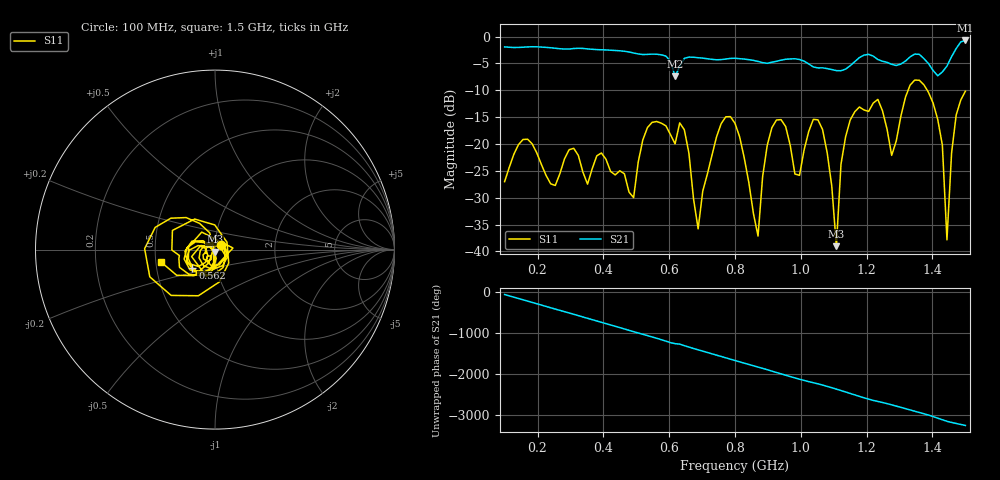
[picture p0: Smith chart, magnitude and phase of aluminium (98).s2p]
! NanoVNA-App
! Date: 2025-09-25 14:56:02
! Start: 100MHz Stop: 1,5GHz Points: 101
! S-Parameter data: F S11 S21 S12 S22
# Hz S RI R 50
!  Frequency  S11_Real  S11_Imag  S21_Real  S21_Imag  S12_Real  S12_Imag  S22_Real  S22_Imag
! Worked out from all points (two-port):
!   101 points, 100 MHz to 1.5 GHz, reference 50 ohm
!   highest |S21| = -0.72 dB at 1.5 GHz (marker M1); lowest = -7.4 dB at 618 MHz (marker M2)
!   |S21| within 3 dB of the highest: start of sweep to 591.4 MHz; 1.184 GHz to 1.222 GHz (38.43 MHz wide, 3.2 % of centre) (the widest 2 of 4)
!   lowest |S11| = -39.0 dB at 1.108 GHz (marker M3), VSWR 1.02, Z = 49.8 - j1.11 ohm
!   |S11| at or under -10 dB: start of sweep to 1.326 GHz; 1.384 GHz to end of sweep
!   S12 and S22 are empty: the file has one direction only
!   S11 on the Smith chart (normalised r, x): 100 MHz: 1.07, +0.06; 562 MHz: 0.76, -0.16; 1.5 GHz: 0.53, -0.08
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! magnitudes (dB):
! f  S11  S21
! 100 MHz  -27.0  -1.9
! 338 MHz  -25.2  -2.2
! 492 MHz  -30.0  -3.1
! 562 MHz  -15.8  -3.3
! 576 MHz  -16.1  -3.4
! 618 MHz  -20.0  -7.4
! 646 MHz  -17.3  -4.0
! 688 MHz  -35.8  -3.9
! 800 MHz  -16.1  -4.0
! 870 MHz  -37.1  -4.6
! 912 MHz  -17.0  -4.8
! 996 MHz  -25.8  -4.3
! 1.038 GHz  -15.4  -5.7
! 1.108 GHz  -39.0  -6.3
! 1.122 GHz  -23.8  -6.4
! 1.164 GHz  -14.0  -4.7
! 1.276 GHz  -22.1  -5.2
! 1.374 GHz  -9.0  -4.1
! 1.43 GHz  -20.2  -6.6
! 1.444 GHz  -37.8  -5.5
! 1.472 GHz  -14.6  -2.2
! 1.5 GHz  -10.2  -0.7
